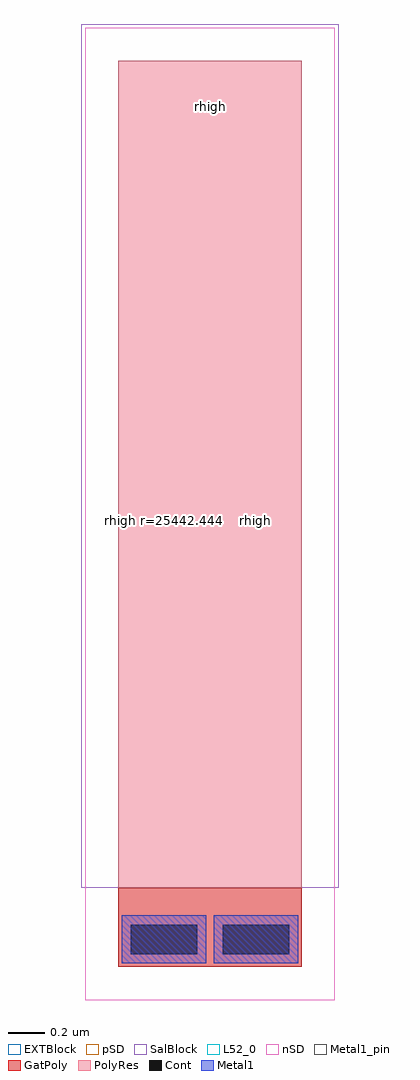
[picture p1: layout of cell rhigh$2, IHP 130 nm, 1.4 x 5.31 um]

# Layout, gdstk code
import gdstk
lib = gdstk.Library(unit=1e-6, precision=5e-09)
def R(c, l, rs):  # rectangles x0, y0, x1, y1
    for r in rs: c.add(gdstk.rectangle(r[:2], r[2:], *l))
GatPoly = (5, 0)
Cont = (6, 0)
nSD = (7, 0)
Metal1 = (8, 0)
Metal1_pin = (8, 2)
pSD = (14, 0)
SalBlock = (28, 0)
L52_0 = (52, 0)
EXTBlock = (111, 0)
PolyRes = (128, 0)

rhigh_2 = lib.new_cell('rhigh$2')
R(rhigh_2, GatPoly, [(0,-0.43,0.5,0), (0.5,-0.43,1,0)])
R(rhigh_2, Cont, [(0.07,-0.36,0.43,-0.2), (0.57,-0.36,0.93,-0.2)])
R(rhigh_2, nSD, [(-0.18,-0.61,0.68,0.18), (0.32,-0.61,1.18,0.18), (-0.18,0,1.18,4), (-0.18,0,0.68,4), (0.32,0,1.18,4), (-0.18,4,1.18,4.68)])
R(rhigh_2, Metal1, [(0.02,-0.41,0.48,-0.15), (0.52,-0.41,0.98,-0.15)])
R(rhigh_2, Metal1_pin, [(0.02,-0.41,0.48,-0.15), (0.52,-0.41,0.98,-0.15)])
R(rhigh_2, pSD, [(-0.18,-0.61,0.68,0.18), (0.32,-0.61,1.18,0.18), (-0.18,0,1.18,4), (-0.18,0,0.68,4), (0.32,0,1.18,4), (-0.18,4,1.18,4.68)])
R(rhigh_2, SalBlock, [(-0.2,0,1.2,4), (-0.2,4,1.2,4.7)])
R(rhigh_2, L52_0, [(0,0,0.5,4), (0.5,0,1,4), (0,4,1,4.5)])
R(rhigh_2, EXTBlock, [(-0.18,-0.61,0.68,0.18), (0.32,-0.61,1.18,0.18), (-0.2,0,1.2,4), (-0.2,4,1.2,4.7)])
R(rhigh_2, PolyRes, [(0,0,0.5,4), (0.5,0,1,4), (0,4,1,4.5)])
rhigh_2.add(gdstk.Label('rhigh r=25442.444', (0.25,2), layer=63, texttype=0))
rhigh_2.add(gdstk.Label('rhigh', (0.25,2), layer=52, texttype=0))
rhigh_2.add(gdstk.Label('rhigh', (0.5,4.25), layer=52, texttype=0))
rhigh_2.add(gdstk.Label('rhigh', (0.75,2), layer=52, texttype=0))

lib.write_gds('rhigh_2.gds')
